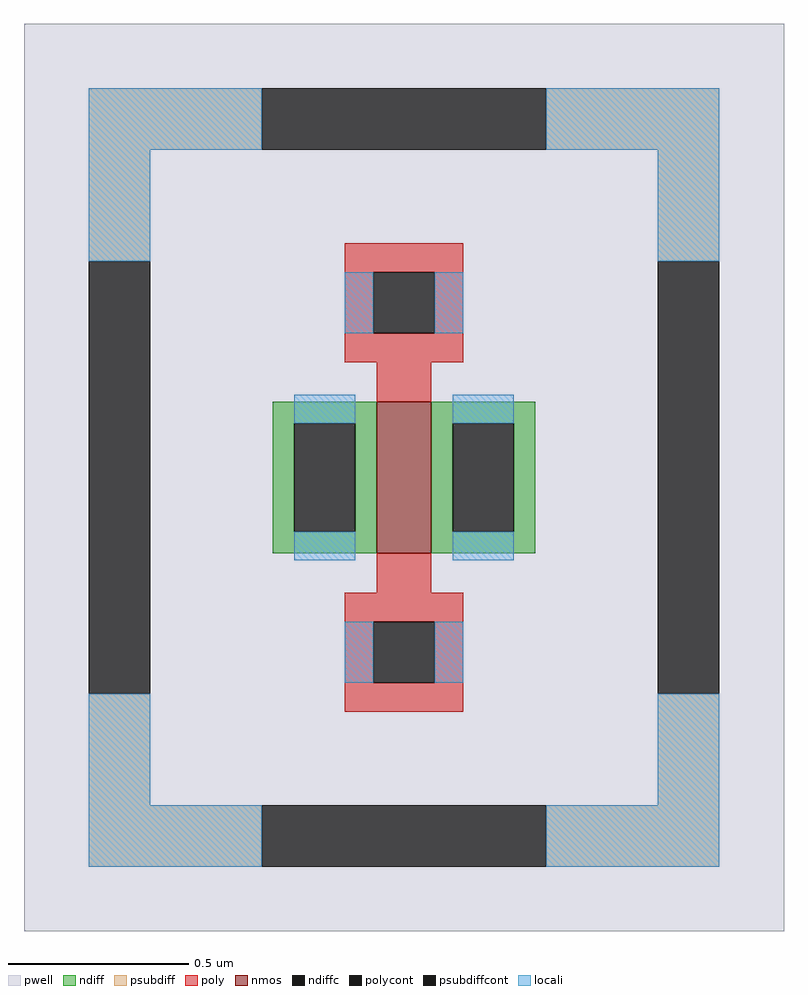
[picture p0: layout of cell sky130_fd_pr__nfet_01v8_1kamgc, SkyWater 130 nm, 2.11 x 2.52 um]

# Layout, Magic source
magic
tech sky130A
magscale 1 2
<< pwell >>
rect -211 -252 211 252
<< nmos >>
rect -15 -42 15 42
<< ndiff >>
rect -73 30 -15 42
rect -73 -30 -61 30
rect -27 -30 -15 30
rect -73 -42 -15 -30
rect 15 30 73 42
rect 15 -30 27 30
rect 61 -30 73 30
rect 15 -42 73 -30
<< ndiffc >>
rect -61 -30 -27 30
rect 27 -30 61 30
<< psubdiff >>
rect -175 182 -79 216
rect 79 182 175 216
rect -175 120 -141 182
rect 141 120 175 182
rect -175 -182 -141 -120
rect 141 -182 175 -120
rect -175 -216 -79 -182
rect 79 -216 175 -182
<< psubdiffcont >>
rect -79 182 79 216
rect -175 -120 -141 120
rect 141 -120 175 120
rect -79 -216 79 -182
<< poly >>
rect -33 114 33 130
rect -33 80 -17 114
rect 17 80 33 114
rect -33 64 33 80
rect -15 42 15 64
rect -15 -64 15 -42
rect -33 -80 33 -64
rect -33 -114 -17 -80
rect 17 -114 33 -80
rect -33 -130 33 -114
<< polycont >>
rect -17 80 17 114
rect -17 -114 17 -80
<< locali >>
rect -175 182 -79 216
rect 79 182 175 216
rect -175 120 -141 182
rect 141 120 175 182
rect -33 80 -17 114
rect 17 80 33 114
rect -61 30 -27 46
rect -61 -46 -27 -30
rect 27 30 61 46
rect 27 -46 61 -30
rect -33 -114 -17 -80
rect 17 -114 33 -80
rect -175 -182 -141 -120
rect 141 -182 175 -120
rect -175 -216 -79 -182
rect 79 -216 175 -182
<< properties >>
string gencell sky130_fd_pr__nfet_01v8
string FIXED_BBOX -158 -199 158 199
string parameters w 0.420 l 0.150 m 1 nf 1 diffcov 100 polycov 100 guard 1 glc 1 grc 1 gtc 1 gbc 1 tbcov 100 rlcov 100 topc 1 botc 1 poverlap 0 doverlap 1 lmin 0.15 wmin 0.42 compatible {sky130_fd_pr__nfet_01v8 sky130_fd_pr__nfet_01v8_lvt  sky130_fd_bs_flash__special_sonosfet_star  sky130_fd_pr__nfet_g5v0d10v5 sky130_fd_pr__nfet_05v0_nvt} full_metal 1
string library sky130
<< end >>
